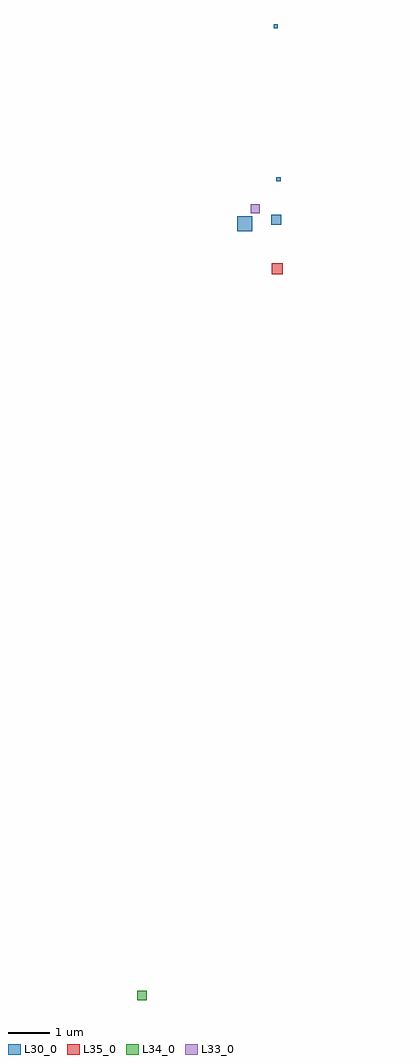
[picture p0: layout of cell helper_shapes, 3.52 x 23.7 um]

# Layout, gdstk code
import gdstk
lib = gdstk.Library(unit=1e-6, precision=1e-09)
def R(c, l, rs):  # rectangles x0, y0, x1, y1
    for r in rs: c.add(gdstk.rectangle(r[:2], r[2:], *l))
L30_0 = (30, 0)
L33_0 = (33, 0)
L34_0 = (34, 0)
L35_0 = (35, 0)

helper_shapes = lib.new_cell('helper_shapes')
R(helper_shapes, L30_0, [(3.64,5.09,4,5.45), (4.465,5.245,4.705,5.485), (4.59,6.3,4.69,6.4), (4.52,10.02,4.62,10.12)])
R(helper_shapes, L33_0, [(3.97,5.53,4.19,5.75)])
R(helper_shapes, L34_0, [(1.215,-13.575,1.445,-13.345)])
R(helper_shapes, L35_0, [(4.48,4.05,4.74,4.31)])

lib.write_gds('helper_shapes.gds')
